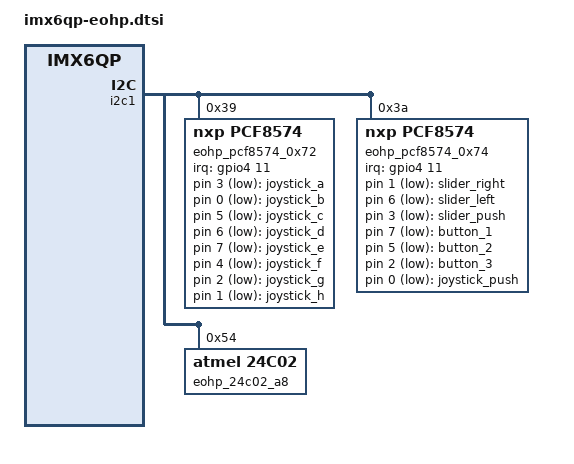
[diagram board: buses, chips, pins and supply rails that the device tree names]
/*
 * Copyright 2022 FLIR Systems.
 *
 * The code contained herein is licensed under the GNU General Public
 * License. You may obtain a copy of the GNU General Public License
 * Version 2 or later at the following locations:
 *
 * http://www.opensource.org/licenses/gpl-license.html
 * http://www.gnu.org/copyleft/gpl.html
 */

#include <dt-bindings/gpio/gpio.h>
#include <dt-bindings/input/input.h>

/ {
	eohp_buttons {
		compatible = "gpio-keys";
		autorepeat;

		slider_right {
			label = "slider_right"; // FJ_A_TOP
			gpio-key;
			gpios = <&eohp_pcf8574_0x74 1 GPIO_ACTIVE_LOW>;
			linux,code = <BTN_RIGHT>;
		};
        slider_left {
			label = "slider_left"; // FJ_E_TOP
			gpio-key;
			gpios = <&eohp_pcf8574_0x74 6 GPIO_ACTIVE_LOW>;
			linux,code = <BTN_LEFT>;
		};
        slider_push {
			label = "slider_push"; // FJ_PUSH_TOP
			gpio-key;
			gpios = <&eohp_pcf8574_0x74 3 GPIO_ACTIVE_LOW>;
			linux,code = <BTN_MIDDLE>;
		};

		button_1 {
			label = "button_1"; // B1_TOP
			gpio-key;
			gpios = <&eohp_pcf8574_0x74 7 GPIO_ACTIVE_LOW>;
			linux,code = <BTN_0>;
		};
        button_2 {
			label = "button_2"; // B2_TOP
			gpio-key;
			gpios = <&eohp_pcf8574_0x74 5 GPIO_ACTIVE_LOW>;
			linux,code = <BTN_1>;
		};
        button_3 {
			label = "button_3"; // B3_TOP
			gpio-key;
			gpios = <&eohp_pcf8574_0x74 2 GPIO_ACTIVE_LOW>;
			linux,code = <BTN_2>;
		};
	};

    eohp_joystick {
		compatible = "gpio-keys";
		autorepeat;
        joystick_a {
			label = "joystick_a"; // TJ_A_REAR
			gpio-key;
			gpios = <&eohp_pcf8574_0x72 3 GPIO_ACTIVE_LOW>;
			linux,code = <KEY_LEFT>;
		};
		joystick_b {
			label = "joystick_b"; // TJ_B_REAR
			gpio-key;
			gpios = <&eohp_pcf8574_0x72 0 GPIO_ACTIVE_LOW>;
			linux,code = <KEY_LEFT_DOWN>;
		};
        joystick_c {
			label = "joystick_c"; // TJ_C_REAR
			gpio-key;
			gpios = <&eohp_pcf8574_0x72 5 GPIO_ACTIVE_LOW>;
			linux,code = <KEY_DOWN>;
		};
        joystick_d {
			label = "joystick_d"; // TJ_D_REAR
			gpio-key;
			gpios = <&eohp_pcf8574_0x72 6 GPIO_ACTIVE_LOW>;
			linux,code = <KEY_RIGHT_DOWN>; 
		};
        joystick_e {
			label = "joystick_e"; //TJ_E_REAR
			gpio-key;
			gpios = <&eohp_pcf8574_0x72 7 GPIO_ACTIVE_LOW>;
			linux,code = <KEY_RIGHT>;
		};
        joystick_f {
			label = "joystick_f"; // TJ_F_REAR
			gpio-key;
			gpios = <&eohp_pcf8574_0x72 4 GPIO_ACTIVE_LOW>;
			linux,code = <KEY_RIGHT_UP>;
		};
        joystick_g {
			label = "joystick_g"; // TJ_G_REAR
			gpio-key;
			gpios = <&eohp_pcf8574_0x72 2 GPIO_ACTIVE_LOW>;
			linux,code = <KEY_UP>;
		};
		joystick_h {
			label = "joystick_h"; // TJ_H_REAR
			gpio-key;
			gpios = <&eohp_pcf8574_0x72 1 GPIO_ACTIVE_LOW>;
			linux,code = <KEY_LEFT_UP>;
		};
        joystick_push {
			label = "joystick_push"; // TJ_PUSH_TOP
			gpio-key;
			gpios = <&eohp_pcf8574_0x74 0 GPIO_ACTIVE_LOW>;
			linux,code = <BTN_JOYSTICK>;
		};
	};

    eohp_leds { 
        compatible = "gpio-leds";
        status = "disabled";
        led_red {
            label = "red-led"; 
            gpios = <&eohp_pcf8574_0x74 4 GPIO_ACTIVE_LOW>;
            default-state = "off";
        };
    };
};

&i2c1 {
    /* GPIO-Expander */
	eohp_pcf8574_0x72: eohp_pcf8574_0x72@39 {
		compatible = "nxp,pcf8574";
		reg = <0x39>;
		gpio-controller;
		status = "okay";
		interrupt-parent = <&gpio4>; //I2C1_Alert_n
		interrupts = <11 IRQ_TYPE_EDGE_FALLING>;
		interrupt-controller;
		interrupts-shared;
		#interrupt-cells = <2>;
		#gpio-cells = <2>;
	};

    /* GPIO-Expander */
	eohp_pcf8574_0x74: eohp_pcf8574_0x74@3a {
		compatible = "nxp,pcf8574";
		reg = <0x3a>;
		gpio-controller;
		status = "okay";
		interrupt-parent = <&gpio4>; //I2C1_Alert_n
		interrupts = <11 IRQ_TYPE_EDGE_FALLING>;
		interrupt-controller;
		interrupts-shared;
		#interrupt-cells = <2>;
		#gpio-cells = <2>;
	};

    /* EEPROM */
	eohp_24c02_a8: eohp_24c02_a8@54 {
		compatible = "atmel,24c02";
		reg = <0x54>;
		pagesize = <16>;
	};
};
